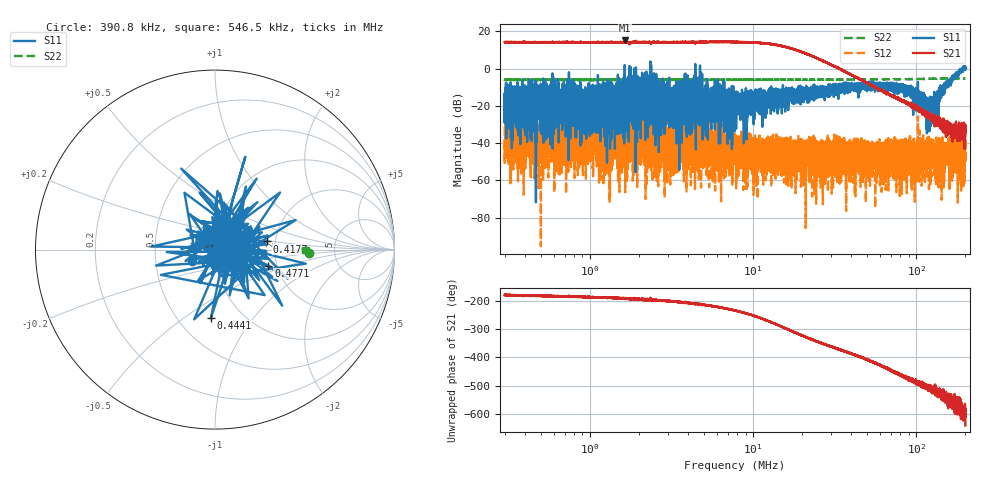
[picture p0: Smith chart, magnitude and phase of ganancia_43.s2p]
# Hz S DB R 50
! CMT, M5065, 19127446, 24.2.4/2
! Date: 11/1/2024 3:38:17 PM
! Data: Format (Calibration Info)
! Freq	S11:dB/Ang(F2)	S21:dB/Ang(F2)	S12:dB/Ang(F2)	S22:dB/Ang(F2)
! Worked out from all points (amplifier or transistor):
!   9000 points, 300 kHz to 200 MHz, reference 50 ohm
!   highest |S21| = 15.1 dB at 1.634 MHz (marker M1)
!   |S21| within 3 dB of that: start of sweep to 14.91 MHz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
!   unconditionally stable (mu >= 1): start of sweep to 1.431 MHz; 2.523 MHz to 3.757 MHz; 4.73 MHz to 190.4 MHz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
!   at 886.8 kHz: K = 5.42, MAG = 15.5 dB, |S12| = -37.6 dB
!   at 7.749 MHz: K = 4.12, MAG = 15.6 dB, |S12| = -35.1 dB
!   at 200 MHz: K = -46.72, MSG = 4.4 dB, |S12| = -41.2 dB
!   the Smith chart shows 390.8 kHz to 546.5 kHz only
!   S11 on the Smith chart (normalised r, x): 390.8 kHz: 0.77, -0.10; 417.7 kHz: 1.80, +0.18; 444.1 kHz: 0.72, -0.64; 477.1 kHz: 1.80, -0.36; 546.5 kHz: 1.25, -0.06
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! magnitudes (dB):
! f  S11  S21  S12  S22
! 300 kHz  -27.2  14.1  -43.3  -6.0
! 310.6 kHz  -9.3  14.3  -28.0  -6.2
! 390.8 kHz  -16.8  14.4  -37.0  -5.6
! 417.7 kHz  -10.7  13.9  -37.6  -6.0
! 444.1 kHz  -8.4  14.2  -43.4  -6.1
! 477.1 kHz  -10.2  14.0  -42.7  -6.1
! 546.5 kHz  -18.7  14.1  -47.9  -6.0
! 886.8 kHz  -12.3  14.0  -37.6  -6.0
! 1.178 MHz  -11.4  14.4  -43.3  -6.0
! 1.26 MHz  -12.2  14.3  -34.6  -6.0
! 1.472 MHz  -15.2  14.0  -48.3  -6.1
! 1.634 MHz  1.9  15.1  -34.1  -5.9
! 2.621 MHz  -14.8  14.2  -63.2  -6.0
! 4.566 MHz  -19.3  14.2  -40.7  -6.0
! 5.249 MHz  -16.7  14.3  -41.2  -6.0
! 7.749 MHz  -15.5  14.2  -35.1  -6.0
! 22.91 MHz  -11.0  6.9  -48.1  -6.0
! 67.71 MHz  -9.9  -13.6  -44.7  -5.7
! 91.58 MHz  -14.5  -19.6  -36.3  -5.7
! 118.7 MHz  -23.2  -24.3  -47.6  -5.5
! 132.2 MHz  -14.5  -27.8  -53.2  -5.4
! 200 MHz  0.1  -32.3  -41.2  -5.4
